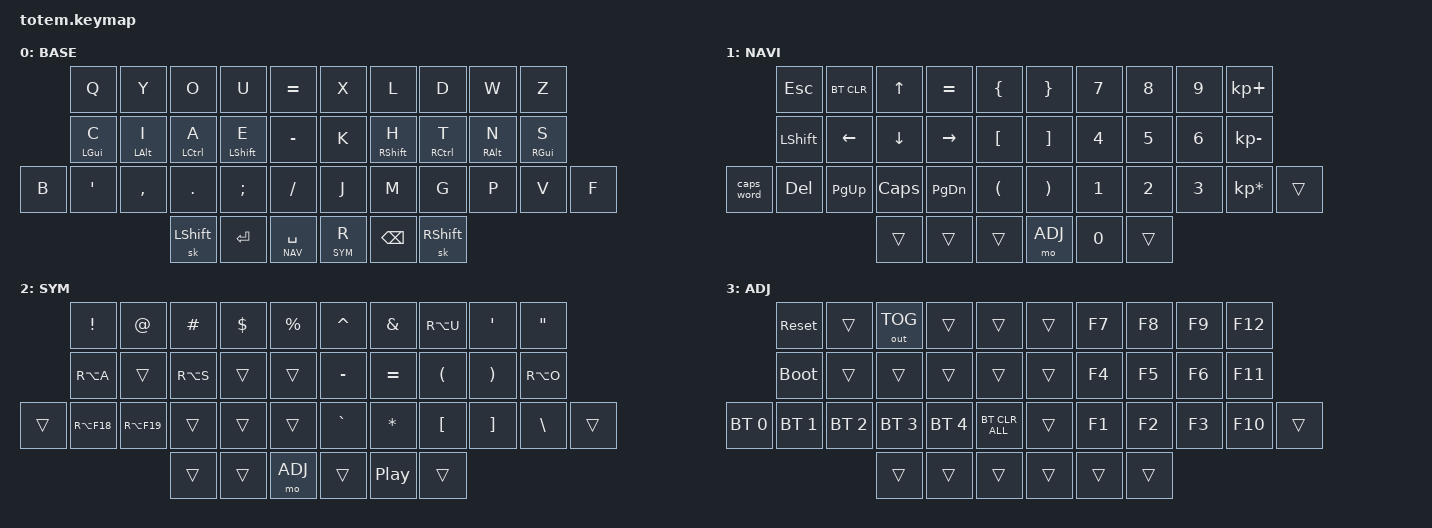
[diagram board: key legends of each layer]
//
//                                                        ▀▀▀▀▀     ▀▀▀▀▀          ▀▀█▀▀
//                                                        ▄▀▀▀▄  ▄  ▄▀▀▀▄  ▄  ▄▀▀▀▄  █  ▄▀▀▀▄
//                                                        █   █  █  █   █  █  █   █  █  █   █
//                                                         ▀▀▀   █   ▀▀▀   █   ▀▀▀   ▀   ▀▀▀
//                                                               █      ▄▄▄█▄▄▄    █   █  
//                                                               ▀      █  █  █     █▄█
//                                                             ▀▀▀▀▀    █  █  █      ▀
//                                                                      ▀  ▀  ▀
//
// ▄▄▄▄▄▄▄▄▄▄▄▄▄▄▄▄▄▄▄▄▄▄▄▄▄▄▄▄▄▄▄▄▄▄▄▄▄▄▄▄▄▄▄▄▄▄▄▄▄▄▄▄▄▄▄▄▄▄▄▄▄▄▄▄▄▄▄▄▄▄▄▄▄▄▄▄▄▄▄▄▄▄▄▄▄▄▄▄▄▄▄▄▄▄▄▄▄▄▄▄▄▄▄▄▄▄▄▄▄▄▄▄▄▄▄▄▄▄▄▄▄▄▄▄▄▄▄▄▄▄▄▄▄▄▄▄▄▄▄▄▄▄▄▄▄▄▄▄▄

#include <behaviors.dtsi>
#include <dt-bindings/zmk/bt.h>
#include <dt-bindings/zmk/keys.h>
#include <dt-bindings/zmk/outputs.h>

#define BASE 0
#define NAV  1
#define SYM  2
#define ADJ  3

&mt {
    quick-tap-ms = <100>;
    global-quick-tap;
    flavor = "tap-preferred";
    tapping-term-ms = <170>;
};

/ {
    combos {
        compatible = "zmk,combos";

        combo_esc {
            timeout-ms = <50>;
            key-positions = <14 25>;
            bindings = <&kp ESC>;
            layers = <0>;
        };

        tab {
            bindings = <&kp TAB>;
            key-positions = <15 26>;
            timeout-ms = <50>;
            layers = <0>;
        };

        caps {
            bindings = <&caps_word>;
            key-positions = <32 37>;
            layers = <0>;
        };
    };

    keymap {
        compatible = "zmk,keymap";

        // ▄▄▄▄▄▄▄▄▄▄▄▄▄▄▄▄▄▄▄▄▄▄▄▄▄▄▄▄▄▄▄▄▄▄▄▄▄▄▄▄▄▄▄▄▄▄▄▄▄▄▄▄▄▄▄▄▄▄▄▄▄▄▄▄▄▄▄▄▄▄▄▄▄▄▄▄▄▄▄▄▄▄▄▄▄▄▄▄▄▄▄▄▄▄▄▄▄▄▄▄▄▄▄▄▄▄▄▄▄▄▄▄▄▄▄▄▄▄▄▄▄▄▄▄▄▄▄▄▄▄▄▄▄▄▄▄▄▄▄▄▄▄▄▄▄▄▄▄▄

        base_layer {
            // ┏━━━━━━━━━━━━━━━━━━━━━━━━━━━━━━━━━━━━━━━┓

            label = "BASE";

            // ┗━━━━━━━━━━━━━━━━━━━━━━━━━━━━━━━━━━━━━━━┛
            //             ┏━━━━━━━━━━━┳━━━━━━━━━━━┳━━━━━━━━━━━┳━━━━━━━━━━━┳━━━━━━━━━━━┓   ┏━━━━━━━━━━━┳━━━━━━━━━━━┳━━━━━━━━━━━┳━━━━━━━━━━━┳━━━━━━━━━━━┓
            //             ┃     Q     ┃     W     ┃     F     ┃     P     ┃     G     ┃   ┃     J     ┃     L     ┃     U     ┃     Y     ┃     ;     ┃
            //             ┣━━━━━━━━━━━╋━━━━━━━━━━━╋━━━━━━━━━━━╋━━━━━━━━━━━╋━━━━━━━━━━━┫   ┣━━━━━━━━━━━╋━━━━━━━━━━━╋━━━━━━━━━━━╋━━━━━━━━━━━╋━━━━━━━━━━━┫
            //             ┃     A     ┃     R     ┃     S     ┃     T     ┃     D     ┃   ┃     H     ┃     N     ┃     E     ┃     I     ┃     O     ┃
            // ┏━━━━━━━━━━━╋━━━━━━━━━━━╋━━━━━━━━━━━╋━━━━━━━━━━━╋━━━━━━━━━━━╋━━━━━━━━━━━┫   ┣━━━━━━━━━━━╋━━━━━━━━━━━╋━━━━━━━━━━━╋━━━━━━━━━━━╋━━━━━━━━━━━╋━━━━━━━━━━━┓
            // ┃           ┃     Z     ┃     X     ┃     C     ┃     V     ┃     B     ┃   ┃     K     ┃     M     ┃     ,     ┃     .     ┃     /     ┃           ┃
            // ┗━━━━━━━━━━━┻━━━━━━━━━━━┻━━━━━━━━━━━╋━━━━━━━━━━━╋━━━━━━━━━━━╋━━━━━━━━━━━┫   ┣━━━━━━━━━━━╋━━━━━━━━━━━╋━━━━━━━━━━━╋━━━━━━━━━━━┻━━━━━━━━━━━┻━━━━━━━━━━━┛
            //                                     ┃           ┃    TAB    ┃    SPC    ┃   ┃   ENTER   ┃   BSPC    ┃           ┃
            //                                     ┗━━━━━━━━━━━┻━━━━━━━━━━━┻━━━━━━━━━━━┛   ┗━━━━━━━━━━━┻━━━━━━━━━━━┻━━━━━━━━━━━┛

            bindings = <
       &kp Q       &kp Y       &kp O           &kp U        &kp EQUAL        &kp X      &kp L        &kp D            &kp W       &kp Z
       &mt LGUI C  &mt LALT I  &mt LCTRL A     &mt LSHFT E  &kp MINUS        &kp K      &mt RSHFT H  &mt RCTRL T      &mt RALT N  &mt RGUI S
&kp B  &kp SQT     &kp COMMA   &kp DOT         &kp SEMI     &kp FSLH         &kp J      &kp M        &kp G            &kp P       &kp V       &kp F
                               &sk LEFT_SHIFT  &kp RET      &lt NAV SPACE    &lt SYM R  &kp BSPC     &sk RIGHT_SHIFT
            >;
        };

        // ▄▄▄▄▄▄▄▄▄▄▄▄▄▄▄▄▄▄▄▄▄▄▄▄▄▄▄▄▄▄▄▄▄▄▄▄▄▄▄▄▄▄▄▄▄▄▄▄▄▄▄▄▄▄▄▄▄▄▄▄▄▄▄▄▄▄▄▄▄▄▄▄▄▄▄▄▄▄▄▄▄▄▄▄▄▄▄▄▄▄▄▄▄▄▄▄▄▄▄▄▄▄▄▄▄▄▄▄▄▄▄▄▄▄▄▄▄▄▄▄▄▄▄▄▄▄▄▄▄▄▄▄▄▄▄▄▄▄▄▄▄▄▄▄▄▄▄▄▄

        nav_layer {
            // ┏━━━━━━━━━━━━━━━━━━━━━━━━━━━━━━━━━━━━━━━┓

            label = "NAVI";

            // ┗━━━━━━━━━━━━━━━━━━━━━━━━━━━━━━━━━━━━━━━┛
            //             ┏━━━━━━━━━━━┳━━━━━━━━━━━┳━━━━━━━━━━━┳━━━━━━━━━━━┳━━━━━━━━━━━┓   ┏━━━━━━━━━━━┳━━━━━━━━━━━┳━━━━━━━━━━━┳━━━━━━━━━━━┳━━━━━━━━━━━┓
            //             ┃           ┃           ┃     UP    ┃           ┃     {     ┃   ┃     }     ┃     7     ┃     8     ┃     9     ┃     +     ┃
            //             ┣━━━━━━━━━━━╋━━━━━━━━━━━╋━━━━━━━━━━━╋━━━━━━━━━━━╋━━━━━━━━━━━┫   ┣━━━━━━━━━━━╋━━━━━━━━━━━╋━━━━━━━━━━━╋━━━━━━━━━━━╋━━━━━━━━━━━┫
            //             ┃   SHIFT   ┃   LEFT    ┃    DOWN   ┃   RIGHT   ┃     [     ┃   ┃     ]     ┃     4     ┃     5     ┃     6     ┃     -     ┃
            // ┏━━━━━━━━━━━╋━━━━━━━━━━━╋━━━━━━━━━━━╋━━━━━━━━━━━╋━━━━━━━━━━━╋━━━━━━━━━━━┫   ┣━━━━━━━━━━━╋━━━━━━━━━━━╋━━━━━━━━━━━╋━━━━━━━━━━━╋━━━━━━━━━━━╋━━━━━━━━━━━┓
            // ┃           ┃           ┃   P UP    ┃  C LOCK   ┃  P DOWN   ┃     (     ┃   ┃     )     ┃     1     ┃     2     ┃     3     ┃     *     ┃           ┃
            // ┗━━━━━━━━━━━┻━━━━━━━━━━━┻━━━━━━━━━━━╋━━━━━━━━━━━╋━━━━━━━━━━━╋━━━━━━━━━━━┫   ┣━━━━━━━━━━━╋━━━━━━━━━━━╋━━━━━━━━━━━╋━━━━━━━━━━━┻━━━━━━━━━━━┻━━━━━━━━━━━┛
            //                                     ┃           ┃    TAB    ┃    SPC    ┃   ┃    DEL    ┃     0     ┃           ┃
            //                                     ┗━━━━━━━━━━━┻━━━━━━━━━━━┻━━━━━━━━━━━┛   ┗━━━━━━━━━━━┻━━━━━━━━━━━┻━━━━━━━━━━━┛

            bindings = <
            &kp ESC    &bt BT_CLR  &kp UP    &kp EQUAL  &kp LBRC    &kp RBRC  &kp N7        &kp N8        &kp N9        &kp KP_PLUS
            &kp LSHFT  &kp LEFT    &kp DOWN  &kp RIGHT  &kp LBKT    &kp RBKT  &kp NUMBER_4  &kp N5        &kp NUMBER_6  &kp KP_MINUS
&caps_word  &kp DEL    &kp PG_UP   &kp CAPS  &kp PG_DN  &kp LPAR    &kp RPAR  &kp NUMBER_1  &kp NUMBER_2  &kp NUMBER_3  &kp KP_MULTIPLY  &trans
                                   &trans    &trans     &trans      &mo ADJ   &kp N0        &trans
            >;
        };

        // ▄▄▄▄▄▄▄▄▄▄▄▄▄▄▄▄▄▄▄▄▄▄▄▄▄▄▄▄▄▄▄▄▄▄▄▄▄▄▄▄▄▄▄▄▄▄▄▄▄▄▄▄▄▄▄▄▄▄▄▄▄▄▄▄▄▄▄▄▄▄▄▄▄▄▄▄▄▄▄▄▄▄▄▄▄▄▄▄▄▄▄▄▄▄▄▄▄▄▄▄▄▄▄▄▄▄▄▄▄▄▄▄▄▄▄▄▄▄▄▄▄▄▄▄▄▄▄▄▄▄▄▄▄▄▄▄▄▄▄▄▄▄▄▄▄▄▄▄▄

        sim_layer {
            // ┏━━━━━━━━━━━━━━━━━━━━━━━━━━━━━━━━━━━━━━━┓

            label = "SYM";

            // ┗━━━━━━━━━━━━━━━━━━━━━━━━━━━━━━━━━━━━━━━┛
            //             ┏━━━━━━━━━━━┳━━━━━━━━━━━┳━━━━━━━━━━━┳━━━━━━━━━━━┳━━━━━━━━━━━┓   ┏━━━━━━━━━━━┳━━━━━━━━━━━┳━━━━━━━━━━━┳━━━━━━━━━━━┳━━━━━━━━━━━┓
            //             ┃     !     ┃     @     ┃     #     ┃     $     ┃     %     ┃   ┃     ˆ     ┃     &     ┃     Ü     ┃     '     ┃     "     ┃
            //             ┣━━━━━━━━━━━╋━━━━━━━━━━━╋━━━━━━━━━━━╋━━━━━━━━━━━╋━━━━━━━━━━━┫   ┣━━━━━━━━━━━╋━━━━━━━━━━━╋━━━━━━━━━━━╋━━━━━━━━━━━╋━━━━━━━━━━━┫
            //             ┃     Ä     ┃           ┃    SZ     ┃           ┃           ┃   ┃   MUTE    ┃   YEN     ┃   EURO    ┃  POUND    ┃     Ö     ┃
            // ┏━━━━━━━━━━━╋━━━━━━━━━━━╋━━━━━━━━━━━╋━━━━━━━━━━━╋━━━━━━━━━━━╋━━━━━━━━━━━┫   ┣━━━━━━━━━━━╋━━━━━━━━━━━╋━━━━━━━━━━━╋━━━━━━━━━━━╋━━━━━━━━━━━╋━━━━━━━━━━━┓
            // ┃           ┃  EMAIL1   ┃  EMAIL2   ┃           ┃           ┃           ┃   ┃   VOL-    ┃   VOL+    ┃   LAST    ┃   NEXT    ┃     \     ┃           ┃
            // ┗━━━━━━━━━━━┻━━━━━━━━━━━┻━━━━━━━━━━━╋━━━━━━━━━━━╋━━━━━━━━━━━╋━━━━━━━━━━━┫   ┣━━━━━━━━━━━╋━━━━━━━━━━━╋━━━━━━━━━━━╋━━━━━━━━━━━┻━━━━━━━━━━━┻━━━━━━━━━━━┛
            //                                     ┃           ┃    GIF    ┃    ADJ    ┃   ┃           ┃           ┃           ┃
            //                                     ┗━━━━━━━━━━━┻━━━━━━━━━━━┻━━━━━━━━━━━┛   ┗━━━━━━━━━━━┻━━━━━━━━━━━┻━━━━━━━━━━━┛

            bindings = <
        &kp EXCL     &kp AT       &kp HASH   &kp DLLR  &kp PRCNT    &kp CARET  &kp AMPS      &kp RA(U)             &kp SQT                &kp DQT
        &kp RA(A)    &trans       &kp RA(S)  &trans    &trans       &kp MINUS  &kp EQUAL     &kp LEFT_PARENTHESIS  &kp RIGHT_PARENTHESIS  &kp RA(O)
&trans  &kp RA(F18)  &kp RA(F19)  &trans     &trans    &trans       &kp GRAVE  &kp ASTERISK  &kp LEFT_BRACKET      &kp RIGHT_BRACKET      &kp BSLH   &trans
                                  &trans     &trans    &mo ADJ      &trans     &kp C_PP      &trans
            >;
        };

        // ▄▄▄▄▄▄▄▄▄▄▄▄▄▄▄▄▄▄▄▄▄▄▄▄▄▄▄▄▄▄▄▄▄▄▄▄▄▄▄▄▄▄▄▄▄▄▄▄▄▄▄▄▄▄▄▄▄▄▄▄▄▄▄▄▄▄▄▄▄▄▄▄▄▄▄▄▄▄▄▄▄▄▄▄▄▄▄▄▄▄▄▄▄▄▄▄▄▄▄▄▄▄▄▄▄▄▄▄▄▄▄▄▄▄▄▄▄▄▄▄▄▄▄▄▄▄▄▄▄▄▄▄▄▄▄▄▄▄▄▄▄▄▄▄▄▄▄▄▄

        adjust_layer {
            // ┏━━━━━━━━━━━━━━━━━━━━━━━━━━━━━━━━━━━━━━━┓

            label = "ADJ";

            // ┗━━━━━━━━━━━━━━━━━━━━━━━━━━━━━━━━━━━━━━━┛
            //             ┏━━━━━━━━━━━┳━━━━━━━━━━━┳━━━━━━━━━━━┳━━━━━━━━━━━┳━━━━━━━━━━━┓   ┏━━━━━━━━━━━┳━━━━━━━━━━━┳━━━━━━━━━━━┳━━━━━━━━━━━┳━━━━━━━━━━━┓
            //             ┃   RESET   ┃ BT CLEAR  ┃  OUT TOG  ┃           ┃           ┃   ┃           ┃    F7     ┃    F8     ┃    F9     ┃    F12    ┃
            //             ┣━━━━━━━━━━━╋━━━━━━━━━━━╋━━━━━━━━━━━╋━━━━━━━━━━━╋━━━━━━━━━━━┫   ┣━━━━━━━━━━━╋━━━━━━━━━━━╋━━━━━━━━━━━╋━━━━━━━━━━━╋━━━━━━━━━━━┫
            //             ┃ BOOTLOAD  ┃ BT NEXT   ┃           ┃           ┃           ┃   ┃           ┃    F4     ┃    F5     ┃    F6     ┃    F11    ┃
            // ┏━━━━━━━━━━━╋━━━━━━━━━━━╋━━━━━━━━━━━╋━━━━━━━━━━━╋━━━━━━━━━━━╋━━━━━━━━━━━┫   ┣━━━━━━━━━━━╋━━━━━━━━━━━╋━━━━━━━━━━━╋━━━━━━━━━━━╋━━━━━━━━━━━╋━━━━━━━━━━━┓
            // ┃           ┃           ┃ BT PREV   ┃           ┃           ┃           ┃   ┃           ┃    F1     ┃    F2     ┃    F3     ┃    F10    ┃           ┃
            // ┗━━━━━━━━━━━┻━━━━━━━━━━━┻━━━━━━━━━━━╋━━━━━━━━━━━╋━━━━━━━━━━━╋━━━━━━━━━━━┫   ┣━━━━━━━━━━━╋━━━━━━━━━━━╋━━━━━━━━━━━╋━━━━━━━━━━━┻━━━━━━━━━━━┻━━━━━━━━━━━┛
            //                                     ┃           ┃           ┃           ┃   ┃           ┃           ┃           ┃
            //                                     ┗━━━━━━━━━━━┻━━━━━━━━━━━┻━━━━━━━━━━━┛   ┗━━━━━━━━━━━┻━━━━━━━━━━━┻━━━━━━━━━━━┛

            bindings = <
              &sys_reset    &trans        &out OUT_TOG  &trans        &trans            &trans  &kp F7  &kp F8  &kp F9  &kp F12
              &bootloader   &trans        &trans        &trans        &trans            &trans  &kp F4  &kp F5  &kp F6  &kp F11
&bt BT_SEL 0  &bt BT_SEL 1  &bt BT_SEL 2  &bt BT_SEL 3  &bt BT_SEL 4  &bt BT_CLR_ALL    &trans  &kp F1  &kp F2  &kp F3  &kp F10  &trans
                                          &trans        &trans        &trans            &trans  &trans  &trans
            >;
        };
    };
};
